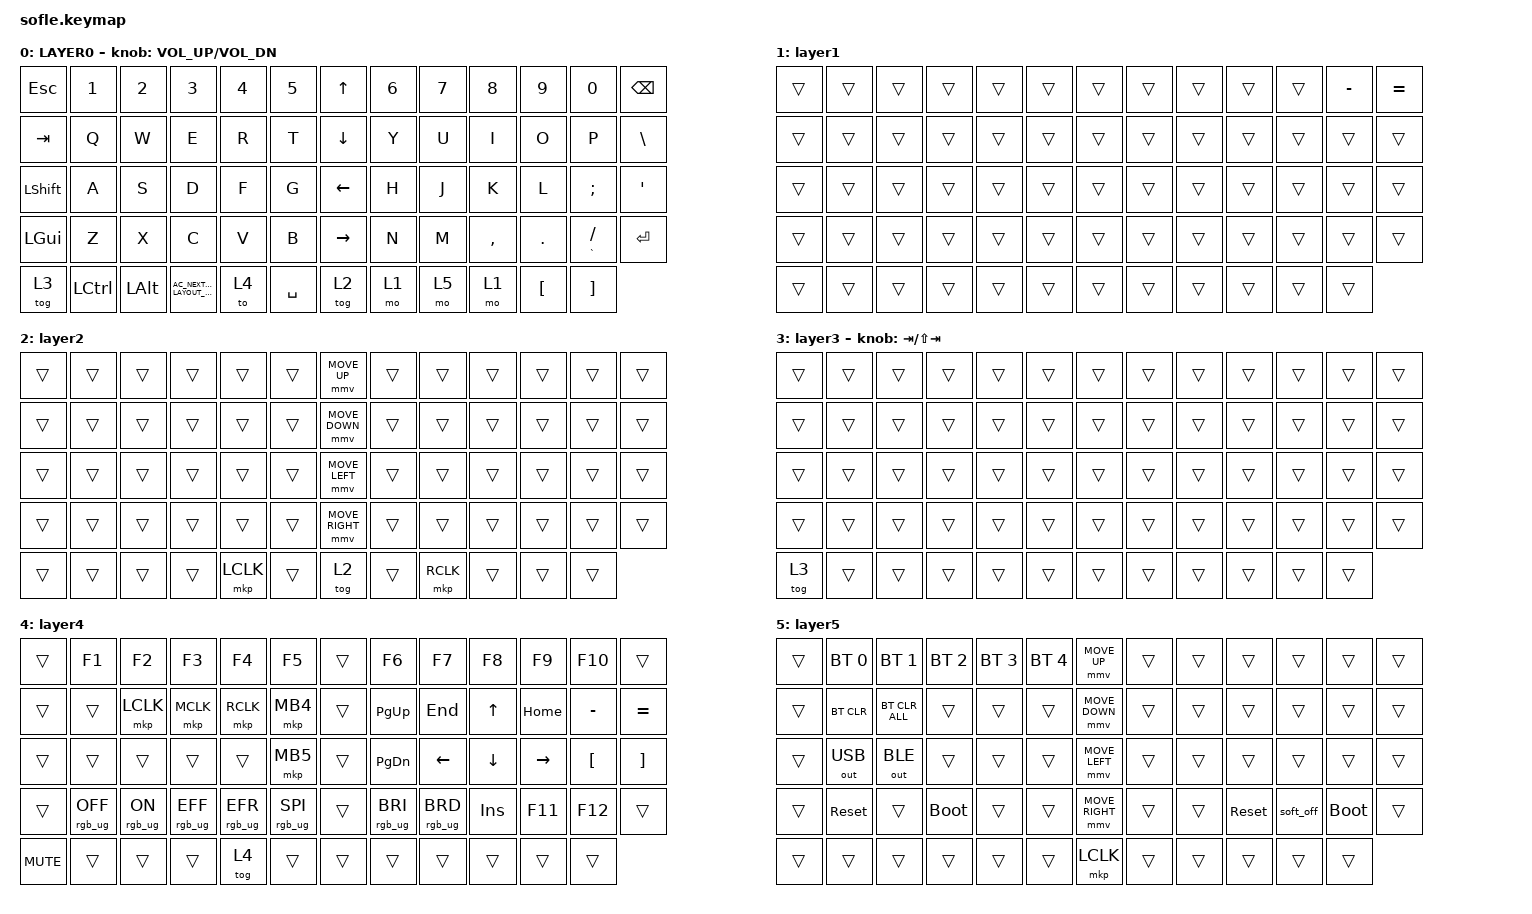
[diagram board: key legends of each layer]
#include <behaviors/mouse_keys.dtsi>
#include <dt-bindings/zmk/mouse.h>
#include <behaviors.dtsi>
#include <dt-bindings/zmk/bt.h>
#include <dt-bindings/zmk/keys.h>
#include <dt-bindings/zmk/outputs.h>
#include <dt-bindings/zmk/rgb.h>

#define ZMK_MOUSE_DEFAULT_MOVE_VAL 1200  // 600
#define ZMK_MOUSE_DEFAULT_SCRL_VAL 20    // 10
#define U_MS_U &mmv MOVE_UP
#define U_MS_D &mmv MOVE_DOWN
#define U_MS_L &mmv MOVE_LEFT
#define U_MS_R &mmv MOVE_RIGHT
#define ZMK_MOUSE_DEFAULT_MOVE_VAL 1200  //  600
#define ZMK_MOUSE_DEFAULT_SCRL_VAL 20    // 10

/ {
    behaviors {
        mmv {
            acceleration-exponent = <1>;      // 1
            time-to-max-speed-ms = <900>;    // 40
            delay-ms = <0>;                   // 0
        };

        msc {
            acceleration-exponent = <1>;      // 0
            time-to-max-speed-ms = <400>;      // 500
            delay-ms = <0>;                   //   10
        };
    };

    scroll_encoder: scroll_encoder {
        compatible = "zmk,behavior-sensor-rotate";
        #sensor-binding-cells = <0>;
        bindings = <&msc SCRL_DOWN>, <&msc SCRL_UP>;

        tap-ms = <30>;
    };

    keymap {
        compatible = "zmk,keymap";

        layer0 {
            bindings = <
&kp ESC         &kp N1     &kp N2        &kp N3                                &kp N4  &kp N5       &kp UP_ARROW     &kp N6  &kp N7  &kp N8     &kp N9            &kp N0             &kp BACKSPACE
&kp TAB         &kp Q      &kp W         &kp E                                 &kp R   &kp T        &kp DOWN_ARROW   &kp Y   &kp U   &kp I      &kp O             &kp P              &kp BSLH
&kp LEFT_SHIFT  &kp A      &kp S         &kp D                                 &kp F   &kp G        &kp LEFT_ARROW   &kp H   &kp J   &kp K      &kp L             &kp SEMI           &kp APOS
&kp LEFT_GUI    &kp Z      &kp X         &kp C                                 &kp V   &kp B        &kp RIGHT_ARROW  &kp N   &kp M   &kp COMMA  &kp DOT           &mt GRAVE FSLH     &kp ENTER
&tog 3          &kp LCTRL  &kp LEFT_ALT  &kp C_AC_NEXT_KEYBOARD_LAYOUT_SELECT  &to 4   &kp SPACE    &tog 2           &mo 1   &mo 5   &mo 1      &kp LEFT_BRACKET  &kp RIGHT_BRACKET
            >;

            sensor-bindings = <&inc_dec_kp C_VOLUME_UP C_VOL_DN>;
            display-name = "LAYER0";
        };

        layer1 {
            bindings = <
&trans  &trans  &trans  &trans  &trans  &trans    &trans  &trans  &trans  &trans  &trans  &kp MINUS  &kp EQUAL
&trans  &trans  &trans  &trans  &trans  &trans    &trans  &trans  &trans  &trans  &trans  &trans     &trans
&trans  &trans  &trans  &trans  &trans  &trans    &trans  &trans  &trans  &trans  &trans  &trans     &trans
&trans  &trans  &trans  &trans  &trans  &trans    &trans  &trans  &trans  &trans  &trans  &trans     &trans
&trans  &trans  &trans  &trans  &trans  &trans    &trans  &trans  &trans  &trans  &trans  &trans
            >;
        };

        layer2 {
            bindings = <
&trans  &trans  &trans  &trans  &trans     &trans    &mmv MOVE_UP     &trans  &trans     &trans  &trans  &trans  &trans
&trans  &trans  &trans  &trans  &trans     &trans    &mmv MOVE_DOWN   &trans  &trans     &trans  &trans  &trans  &trans
&trans  &trans  &trans  &trans  &trans     &trans    &mmv MOVE_LEFT   &trans  &trans     &trans  &trans  &trans  &trans
&trans  &trans  &trans  &trans  &trans     &trans    &mmv MOVE_RIGHT  &trans  &trans     &trans  &trans  &trans  &trans
&trans  &trans  &trans  &trans  &mkp LCLK  &trans    &tog 2           &trans  &mkp RCLK  &trans  &trans  &trans
            >;
        };

        layer3 {
            bindings = <
&trans  &trans  &trans  &trans  &trans  &trans    &trans  &trans  &trans  &trans  &trans  &trans  &trans
&trans  &trans  &trans  &trans  &trans  &trans    &trans  &trans  &trans  &trans  &trans  &trans  &trans
&trans  &trans  &trans  &trans  &trans  &trans    &trans  &trans  &trans  &trans  &trans  &trans  &trans
&trans  &trans  &trans  &trans  &trans  &trans    &trans  &trans  &trans  &trans  &trans  &trans  &trans
&tog 3  &trans  &trans  &trans  &trans  &trans    &trans  &trans  &trans  &trans  &trans  &trans
            >;

            sensor-bindings = <&inc_dec_kp TAB LS(TAB)>;
        };

        layer4 {
            bindings = <
&trans      &kp F1           &kp F2          &kp F3           &kp F4           &kp F5             &trans  &kp F6           &kp F7           &kp F8      &kp F9     &kp F10           &trans
&trans      &trans           &mkp LCLK       &mkp MCLK        &mkp RCLK        &mkp MB4           &trans  &kp PG_UP        &kp END          &kp UP      &kp HOME   &kp MINUS         &kp EQUAL
&trans      &trans           &trans          &trans           &trans           &mkp MB5           &trans  &kp PG_DN        &kp LEFT         &kp DOWN    &kp RIGHT  &kp LEFT_BRACKET  &kp RIGHT_BRACKET
&trans      &rgb_ug RGB_OFF  &rgb_ug RGB_ON  &rgb_ug RGB_EFF  &rgb_ug RGB_EFR  &rgb_ug RGB_SPI    &trans  &rgb_ug RGB_BRI  &rgb_ug RGB_BRD  &kp INSERT  &kp F11    &kp F12           &trans
&kp C_MUTE  &trans           &trans          &trans           &tog 4           &trans             &trans  &trans           &trans           &trans      &trans     &trans
            >;

            display-name = "layer4";
        };

        layer5 {
            bindings = <
&trans  &bt BT_SEL 0  &bt BT_SEL 1    &bt BT_SEL 2  &bt BT_SEL 3  &bt BT_SEL 4    &mmv MOVE_UP     &trans  &trans  &trans      &trans     &trans       &trans
&trans  &bt BT_CLR    &bt BT_CLR_ALL  &trans        &trans        &trans          &mmv MOVE_DOWN   &trans  &trans  &trans      &trans     &trans       &trans
&trans  &out OUT_USB  &out OUT_BLE    &trans        &trans        &trans          &mmv MOVE_LEFT   &trans  &trans  &trans      &trans     &trans       &trans
&trans  &sys_reset    &trans          &bootloader   &trans        &trans          &mmv MOVE_RIGHT  &trans  &trans  &sys_reset  &soft_off  &bootloader  &trans
&trans  &trans        &trans          &trans        &trans        &trans          &mkp LCLK        &trans  &trans  &trans      &trans     &trans
            >;
        };
    };
};
